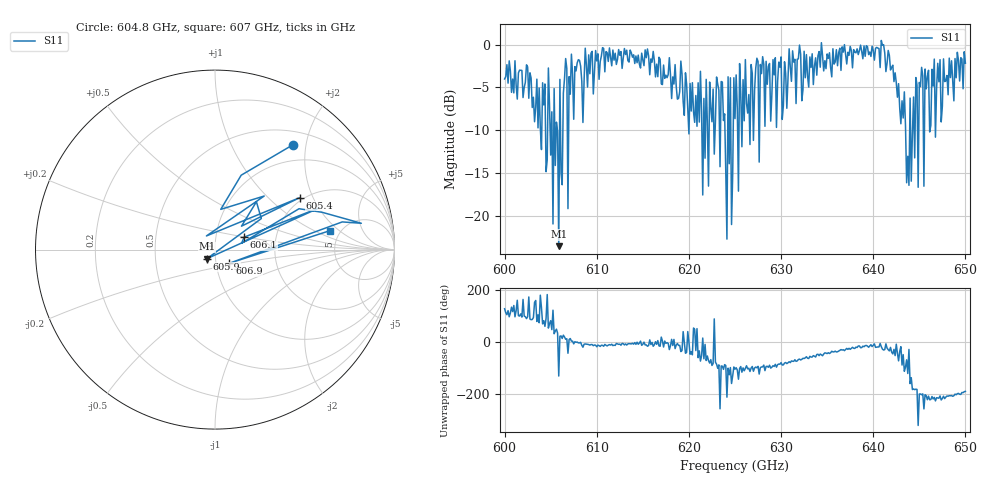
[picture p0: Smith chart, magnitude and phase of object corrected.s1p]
!Created with skrf (http://scikit-rf.org).
# GHz S MA R 50.0
!freq magS11 angS11
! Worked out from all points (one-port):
!   401 points, 600 GHz to 650 GHz, reference 50 ohm
!   lowest |S11| = -23.5 dB at 605.9 GHz (marker M1), VSWR 1.14, Z = 45.6 - j4.58 ohm
!   |S11| at or under -10 dB: 604.441 GHz to 604.6652 GHz (224.2 MHz wide, 0.0371 % of centre); 605.7323 GHz to 605.9619 GHz (229.6 MHz wide, 0.0379 % of centre); 643.5103 GHz to 643.9539 GHz (443.6 MHz wide, 0.0689 % of centre) (the widest 3 of 29)
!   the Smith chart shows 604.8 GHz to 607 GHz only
!   S11 on the Smith chart (normalised r, x): 604.8 GHz: 0.71, +1.77; 605.4 GHz: 1.91, +1.60; 605.9 GHz: 0.91, -0.09; 606.1 GHz: 1.37, +0.20; 606.9 GHz: 1.16, -0.18; 607 GHz: 4.13, +1.51
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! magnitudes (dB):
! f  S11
! 600 GHz  -4.0
! 602.6 GHz  -6.3
! 604.8 GHz  -2.7
! 605.4 GHz  -5.1
! 605.9 GHz  -23.5
! 606.1 GHz  -15.0
! 606.2 GHz  -16.4
! 606.9 GHz  -19.1
! 607 GHz  -3.7
! 607.9 GHz  -2.1
! 608.4 GHz  -4.3
! 612.5 GHz  -1.3
! 618.8 GHz  -6.4
! 621 GHz  -4.5
! 621.8 GHz  -13.3
! 623.4 GHz  -14.3
! 624.4 GHz  -13.9
! 625 GHz  -8.6
! 628.1 GHz  -2.3
! 630.4 GHz  -2.0
! 631.2 GHz  -0.7
! 637.5 GHz  -0.2
! 641.9 GHz  -3.0
! 643.8 GHz  -13.0
! 643.9 GHz  -16.4
! 644.5 GHz  -13.2
! 645.9 GHz  -3.7
! 650 GHz  -2.2
